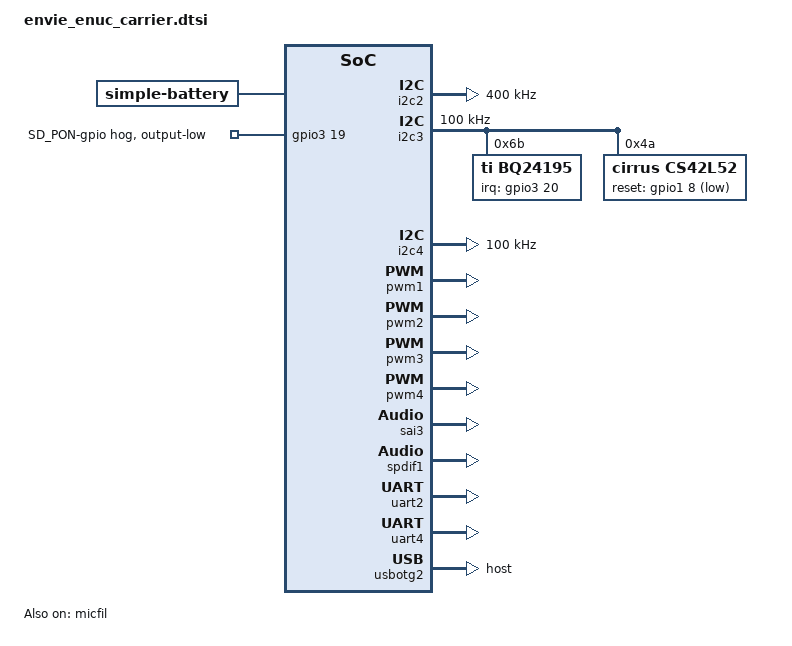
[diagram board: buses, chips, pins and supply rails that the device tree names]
/**
 */

/ {
	bat: battery {
		compatible = "simple-battery";
		precharge-current-microamp = <256000>;
		charge-term-current-microamp = <128000>;
		/*
		compatible = "simple-battery";
		voltage-min-design-microvolt = <3200000>;
		energy-full-design-microwatt-hours = <5290000>;
		charge-full-design-microamp-hours = <1430000>;
		precharge-current-microamp = <256000>;
		charge-term-current-microamp = <128000>;
		constant-charge-current-max-microamp = <900000>;
		constant-charge-voltage-max-microvolt = <4200000>;
		*/
	};

	sound-cs42l52 {
		compatible = "simple-audio-card";
		simple-audio-card,name = "cs42l52-audio";
		simple-audio-card,format = "left_j";
		simple-audio-card,bitclock-master = <&dailink0_master>;
		simple-audio-card,frame-master = <&dailink0_master>;
		simple-audio-card,widgets =
			"Microphone", "Microphone A",
			"Microphone", "Microphone B",
			"Line", "Line In Jack",
			"Headphone", "Headphone Jack",
			"Speaker", "External Speaker";
		simple-audio-card,routing =
			"AIN1L", "Line In Jack" ,
			"AIN1R", "Line In Jack",
			"AIN2L", "Line In Jack" ,
			"AIN2R", "Line In Jack",
			"AIN3L", "Line In Jack" ,
			"AIN3R", "Line In Jack",
			"AIN4L", "Line In Jack" ,
			"AIN4R", "Line In Jack",
			"MICA", "Microphone A",
			"MICB", "Microphone B",
			"Microphone A", "Mic Bias",
			"Microphone B", "Mic Bias",
			"Headphone Jack", "HPOUTA",
			"Headphone Jack", "HPOUTB",
			"External Speaker", "SPKOUTA",
			"External Speaker", "SPKOUTB";

		dailink0_master: simple-audio-card,cpu {
			sound-dai = <&sai3>;
			dai-tdm-slot-num = <2>;
			dai-tdm-slot-width = <32>;
		};

		simple-audio-card,codec {
			sound-dai = <&cs42l52>;
			clocks = <&clk IMX8MM_CLK_SAI3_ROOT>;
		};
	};

	sound-spdif {
		compatible = "fsl,imx-audio-spdif";
		model = "imx-spdif";
		spdif-controller = <&spdif1>;
		spdif-out;
		spdif-in;
	};

	sound-micfil {
		compatible = "fsl,imx-audio-micfil";
		model = "imx-audio-micfil";
		cpu-dai = <&micfil>;
	};
};

&iomuxc {
	pinctrl-names = "default";
	pinctrl-0 = <&pinctrl_hog>;

	imx8mm {
/*
		pinctrl_gpio1: gpio1grp {
			fsl,pins = <
				MX8MM_IOMUXC_GPIO1_IO07_GPIO1_IO7     0xC0000041
				MX8MM_IOMUXC_GPIO1_IO08_GPIO1_IO8     0xC0000041
				MX8MM_IOMUXC_GPIO1_IO09_GPIO1_IO9     0xC0000041
				MX8MM_IOMUXC_GPIO1_IO10_GPIO1_IO10    0xC0000041
				MX8MM_IOMUXC_GPIO1_IO11_GPIO1_IO11    0xC0000041
			>;
		};

		pinctrl_gpio3: gpio3grp {
			fsl,pins = <
				MX8MM_IOMUXC_SAI5_RXFS_GPIO3_IO19     0xC0000041
				MX8MM_IOMUXC_SAI5_RXC_GPIO3_IO20      0xC0000041
			>;
		};
*/
/*
		pinctrl_hog: hoggrp {
			fsl,pins = <
				MX8MM_IOMUXC_SAI5_RXFS_GPIO3_IO19      0x130b1 // default pulldown
			>;
		};
*/
/**/
		pinctrl_hog: hoggrp {
			fsl,pins = <
				MX8MM_IOMUXC_GPIO1_IO07_GPIO1_IO7   0x44 /* J2 46: EN_USB */
				MX8MM_IOMUXC_GPIO1_IO09_GPIO1_IO9   0x44 /* J2 50: CELL_RST */
				MX8MM_IOMUXC_GPIO1_IO11_GPIO1_IO11  0x44 /* J2 54: CELL_PON */
				MX8MM_IOMUXC_GPIO1_IO13_GPIO1_IO13  0x44 /* J2 61: PWM2 485/232N */
				MX8MM_IOMUXC_GPIO1_IO14_GPIO1_IO14  0x44 /* J2 63: PWM3 EN_485 */
			>;
		};

		pinctrl_i2c2: i2c2grp {
			fsl,pins = <
				MX8MM_IOMUXC_I2C2_SCL_I2C2_SCL      0x400001c3
				MX8MM_IOMUXC_I2C2_SDA_I2C2_SDA      0x400001c3
			>;
		};

		pinctrl_i2c3: i2c3grp {
			fsl,pins = <
				MX8MM_IOMUXC_I2C3_SCL_I2C3_SCL      0x400001c3
				MX8MM_IOMUXC_I2C3_SDA_I2C3_SDA      0x400001c3
			>;
		};

		pinctrl_i2c4: i2c4grp {
			fsl,pins = <
				MX8MM_IOMUXC_I2C4_SCL_I2C4_SCL      0x400001c3
				MX8MM_IOMUXC_I2C4_SDA_I2C4_SDA      0x400001c3
			>;
		};

		pinctrl_pdm: pdmgrp {
			fsl,pins = <
				MX8MM_IOMUXC_SAI1_MCLK_PDM_CLK      0xd6
				MX8MM_IOMUXC_SAI1_RXD2_PDM_DATA2    0xd6
				MX8MM_IOMUXC_SAI1_RXD7_GPIO4_IO9    0x19
			>;
		};

		pinctrl_sai3: sai3grp {
			fsl,pins = <
				MX8MM_IOMUXC_SAI3_TXFS_SAI3_TX_SYNC     0xd6
				MX8MM_IOMUXC_SAI3_TXC_SAI3_TX_BCLK      0xd6
				MX8MM_IOMUXC_SAI3_TXD_SAI3_TX_DATA0     0xd6
				MX8MM_IOMUXC_SAI3_RXD_SAI3_RX_DATA0     0xd6
			>;
		};

		pinctrl_sai5: sai5grp {
			fsl,pins = <
				MX8MM_IOMUXC_SAI5_RXD1_SAI5_TX_SYNC     0xd6
				MX8MM_IOMUXC_SAI5_RXD2_SAI5_TX_BCLK     0xd6
				MX8MM_IOMUXC_SAI5_RXD3_SAI5_TX_DATA0    0xd6
				MX8MM_IOMUXC_SAI5_RXD0_SAI5_RX_DATA0    0xd6
			>;
		};

		pinctrl_spdif1: spdif1grp {
			fsl,pins = <
				MX8MM_IOMUXC_SPDIF_TX_SPDIF1_OUT        0xd6
				MX8MM_IOMUXC_SPDIF_RX_SPDIF1_IN         0xd6
			>;
		};

		pinctrl_uart2: uart2grp {
			fsl,pins = <
				MX8MM_IOMUXC_UART2_RXD_UART2_DCE_RX       0x140
				MX8MM_IOMUXC_UART2_TXD_UART2_DCE_TX       0x140
			>;
		};

		pinctrl_uart4: uart4grp {
			fsl,pins = <
				MX8MM_IOMUXC_UART4_RXD_UART4_DCE_RX       0x140
				MX8MM_IOMUXC_UART4_TXD_UART4_DCE_TX       0x140
			>;
		};
	};
};

&gpio3 {
	//pinctrl-name = "default";
	//pinctrl-0 = <&pinctrl_gpio3>;
	sd_pon {
		gpio-hog;
		//gpios = <&gpio3 19 GPIO_ACTIVE_HIGH>;
		gpios = <19 0>;
#if 1
		output-low;
#else
		output-high;
#endif
		line-name = "SD_PON-gpio";
	};
};

&i2c2 {
	clock-frequency = <400000>;
	pinctrl-names = "default";
	pinctrl-0 = <&pinctrl_i2c2>;
	status = "okay";
};

&i2c3 {
	clock-frequency = <100000>;
	pinctrl-names = "default";
	pinctrl-0 = <&pinctrl_i2c3>;
	status = "okay";

	bq24195: charger@6b {
		compatible = "ti,bq24195";
		reg = <0x6b>;
		interrupt-parent = <&gpio3>;
		interrupts = <20 GPIO_ACTIVE_LOW>;
		monitored-battery = <&bat>;
		ti,system-minimum-microvolt = <3200000>;
		omit-battery-class;
	};

	cs42l52: cs42l52@4a {
		#sound-dai-cells = <0>;
		compatible = "cirrus,cs42l52";
		reg = <0x4a>;
		cirrus,reset-gpio = <&gpio1 8 GPIO_ACTIVE_LOW>;
		cirrus,chgfreq-divisor = <0x05>;
		cirrus.mica-differential-cfg;
		cirrus,micbias-lvl = <5>;
	};
};

&i2c4 {
	clock-frequency = <100000>;
	pinctrl-names = "default";
	pinctrl-0 = <&pinctrl_i2c4>;
	status = "okay";
};

&pwm1 {
	status = "okay";
};

&pwm2 {
	status = "okay";
};

&pwm3 {
	status = "okay";
};

&pwm4 {
	status = "okay";
};

&sai3 {
	pinctrl-names = "default";
	pinctrl-0 = <&pinctrl_sai3>;
	assigned-clocks = <&clk IMX8MM_CLK_SAI3>;
	assigned-clock-parents = <&clk IMX8MM_AUDIO_PLL1_OUT>;
	assigned-clock-rates = <24576000>;
	status = "okay";
};

&sai5 {
	pinctrl-names = "default";
	pinctrl-0 = <&pinctrl_sai5>;
	assigned-clocks = <&clk IMX8MM_CLK_SAI5>;
	assigned-clock-parents = <&clk IMX8MM_AUDIO_PLL1_OUT>;
	assigned-clock-rates = <49152000>;
	clocks = <&clk IMX8MM_CLK_SAI5_IPG>, <&clk IMX8MM_CLK_DUMMY>,
		<&clk IMX8MM_CLK_SAI5_ROOT>, <&clk IMX8MM_CLK_DUMMY>,
		<&clk IMX8MM_CLK_DUMMY>, <&clk IMX8MM_AUDIO_PLL1_OUT>,
		<&clk IMX8MM_AUDIO_PLL2_OUT>;
	clock-names = "bus", "mclk0", "mclk1", "mclk2", "mclk3", "pll8k", "pll11k";
	fsl,sai-asynchronous;
	status = "disabled";
};

&spdif1 {
	pinctrl-names = "default";
	pinctrl-0 = <&pinctrl_spdif1>;
	assigned-clocks = <&clk IMX8MM_CLK_SPDIF1>;
	assigned-clock-parents = <&clk IMX8MM_AUDIO_PLL1_OUT>;
	assigned-clock-rates = <24576000>;
	clocks = <&clk IMX8MM_CLK_AUDIO_AHB>, <&clk IMX8MM_CLK_24M>,
		<&clk IMX8MM_CLK_SPDIF1>, <&clk IMX8MM_CLK_DUMMY>,
		<&clk IMX8MM_CLK_DUMMY>, <&clk IMX8MM_CLK_DUMMY>,
		<&clk IMX8MM_CLK_AUDIO_AHB>, <&clk IMX8MM_CLK_DUMMY>,
		<&clk IMX8MM_CLK_DUMMY>, <&clk IMX8MM_CLK_DUMMY>,
		<&clk IMX8MM_AUDIO_PLL1_OUT>, <&clk IMX8MM_AUDIO_PLL2_OUT>;
	clock-names = "core", "rxtx0", "rxtx1", "rxtx2", "rxtx3",
		"rxtx4", "rxtx5", "rxtx6", "rxtx7", "spba", "pll8k", "pll11k";
	status = "okay";
};

// Connect on CSI connector
&micfil {
	pinctrl-names = "default";
	pinctrl-0 = <&pinctrl_pdm>;
	assigned-clocks = <&clk IMX8MM_CLK_PDM>;
	assigned-clock-parents = <&clk IMX8MM_AUDIO_PLL1_OUT>;
	assigned-clock-rates = <196608000>;
	status = "okay";
};

&uart2 { /* SARA */
	pinctrl-names = "default";
	pinctrl-0 = <&pinctrl_uart2>;
	status = "okay";
};

&uart4 { /* LORA */
	pinctrl-names = "default";
	pinctrl-0 = <&pinctrl_uart4>;
	assigned-clocks = <&clk IMX8MM_CLK_UART4>;
	assigned-clock-parents = <&clk IMX8MM_SYS_PLL1_80M>;
	/*fsl,uart-has-rtscts;*/
	status = "okay";
};

&usbotg2 {
	dr_mode = "host";
	picophy,pre-emp-curr-control = <3>;
	picophy,dc-vol-level-adjust = <7>;
	status = "okay";
};
